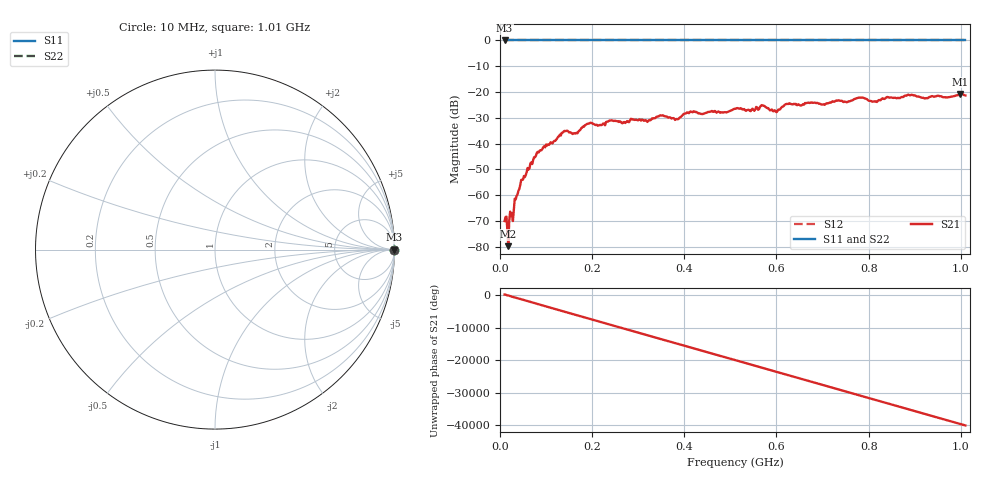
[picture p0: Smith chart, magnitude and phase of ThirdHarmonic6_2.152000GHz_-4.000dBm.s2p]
! 8/17/2025 1:41:34 AM
! C:\ANRITSUVNA\TEMP\TEMP.S2P
! CHANNEL.1
! TR.MEASUREMENT
! RAW.DATA
! RF.CORRECTION.OFF
! AVERAGING.OFF
! IF.BANDWIDTH: 5KHZ
! SWEEPTYPE:  FREQ.SWEEP(Linear)
! Reference Plane Port Info
! PORT:  PORT1  PORT2
! DISTANCE:  0  m  0  m
! TIME:  0  s  0  s
! PHASE.OFFSET:  0  deg.  0  deg.
! LOSS:  0  dB  0  dB
! REF.LOSS:  0  dB  0  dB
! REF.FREQ:  0  Hz  0  Hz
! Power Info
! POWER:  -20  dBm  -20  dBm
! EFF.POWER:  -20  dBm  -20  dBm
! SOURCE.ATTEN:  0  dB  0  dB
! TEST.ATTEN:  0  dB  0  dB
# GHZ S RI R 50.0
! FREQ.GHZ  S11RE  S11IM  S21RE  S21IM  S12RE  S12IM  S22RE  S22IM
!; PortSelection: Port_12
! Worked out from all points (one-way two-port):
!   501 points, 10 MHz to 1.01 GHz, reference 50 ohm
!   highest |S21| = -20.74 dB at 998 MHz (marker M1); lowest = -79.8 dB at 18 MHz (marker M2)
!   lowest |S11| = 0.0 dB at 10 MHz (marker M3)
!   |S11| at or under -10 dB: nowhere
!   |S22| runs from 0.0 to 0.0 dB; largest |S21 - S12| = 1.1
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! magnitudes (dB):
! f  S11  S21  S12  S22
! 10 MHz  0.0  -70.0  0.0  0.0
! 14 MHz  0.0  -68.3  0.0  0.0
! 18 MHz  0.0  -79.8  0.0  0.0
! 48 MHz  0.0  -54.0  0.0  0.0
! 78 MHz  0.0  -44.6  0.0  0.0
! 138 MHz  0.0  -35.3  0.0  0.0
! 164 MHz  0.0  -36.1  0.0  0.0
! 178 MHz  0.0  -33.8  0.0  0.0
! 194 MHz  0.0  -32.2  0.0  0.0
! 322 MHz  0.0  -31.1  0.0  0.0
! 344 MHz  0.0  -29.5  0.0  0.0
! 384 MHz  0.0  -30.4  0.0  0.0
! 416 MHz  0.0  -27.7  0.0  0.0
! 510 MHz  0.0  -26.5  0.0  0.0
! 570 MHz  0.0  -25.2  0.0  0.0
! 598 MHz  0.0  -27.4  0.0  0.0
! 624 MHz  0.0  -24.6  0.0  0.0
! 678 MHz  0.0  -24.2  0.0  0.0
! 814 MHz  0.0  -23.6  0.0  0.0
! 844 MHz  0.0  -22.1  0.0  0.0
! 998 MHz  0.0  -20.7  0.0  0.0
! 1.01 GHz  0.0  -21.3  0.0  0.0
